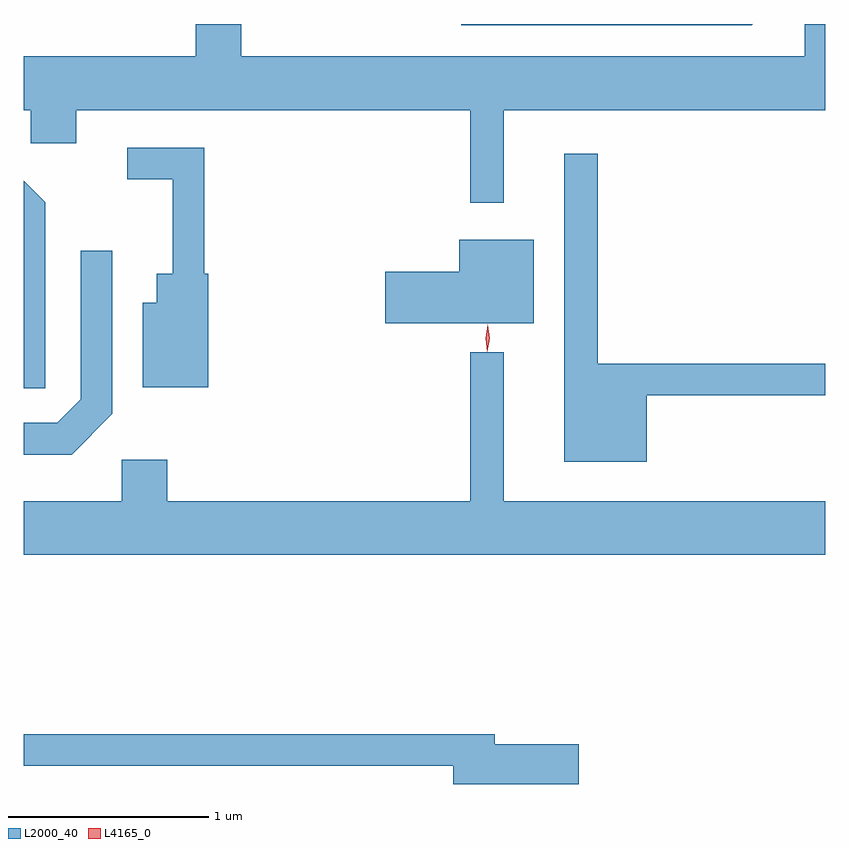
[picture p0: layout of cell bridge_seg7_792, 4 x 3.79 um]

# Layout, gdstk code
import gdstk
lib = gdstk.Library(unit=1e-6, precision=1e-09)
def P(c, l, *ps):  # polygons
    for p in ps: c.add(gdstk.Polygon(p, *l))
L2000_40 = (2000, 40)
L4165_0 = (4165, 0)

bridge_seg7_792 = lib.new_cell('bridge_seg7_792')
P(bridge_seg7_792, L2000_40, [(298.769,1805.336),(300.373,1805.336),(300.373,1805.766),(300.271,1805.766),(300.271,1805.604),(297.459,1805.604),(297.459,1805.766),(297.231,1805.766),(297.231,1805.604),(296.373,1805.604),(296.373,1805.336),(296.406,1805.336),(296.406,1805.171),(296.634,1805.171),(296.634,1805.336),(298.601,1805.336),(298.601,1804.873),(298.769,1804.873)],
  [(300.012,1805.766),(298.556,1805.766),(298.556,1805.761),(300.007,1805.761)],
  [(297.294,1804.519),(297.274,1804.519),(297.274,1805.149),(296.888,1805.149),(296.888,1804.991),(297.116,1804.991),(297.116,1804.519),(297.036,1804.519),(297.036,1804.374),(296.966,1804.374),(296.966,1803.951),(297.294,1803.951)],
  [(299.484,1803.911),(300.373,1803.911),(300.373,1804.069),(299.239,1804.069),(299.239,1805.118),(299.071,1805.118),(299.071,1803.581),(299.484,1803.581)],
  [(296.479,1804.877),(296.373,1804.983),(296.373,1803.946),(296.479,1803.946)],
  [(298.919,1804.689),(298.546,1804.689),(298.546,1804.529),(298.176,1804.529),(298.176,1804.271),(298.919,1804.271)],
  [(296.814,1803.819),(296.814,1804.633),(296.656,1804.633),(296.656,1803.892),(296.539,1803.774),(296.373,1803.774),(296.373,1803.616),(296.612,1803.616)],
  [(300.373,1803.384),(298.769,1803.384),(298.769,1804.128),(298.601,1804.128),(298.601,1803.384),(297.089,1803.384),(297.089,1803.589),(296.861,1803.589),(296.861,1803.384),(296.373,1803.384),(296.373,1803.116),(300.373,1803.116)],
  [(299.144,1802.169),(298.724,1802.169),(298.724,1802.219),(296.373,1802.219),(296.373,1802.061),(298.516,1802.061),(298.516,1801.971),(299.144,1801.971)])
P(bridge_seg7_792, L4165_0, [(298.687,1804.133),(298.686,1804.134),(298.678,1804.196),(298.688,1804.259),(298.689,1804.26),(298.689,1804.259),(298.698,1804.196),(298.687,1804.134)],
  [(298.686,1804.13),(298.678,1804.198),(298.688,1804.265),(298.688,1804.266),(298.689,1804.265),(298.698,1804.198),(298.687,1804.13),(298.687,1804.13)])

lib.write_gds('bridge_seg7_792.gds')
